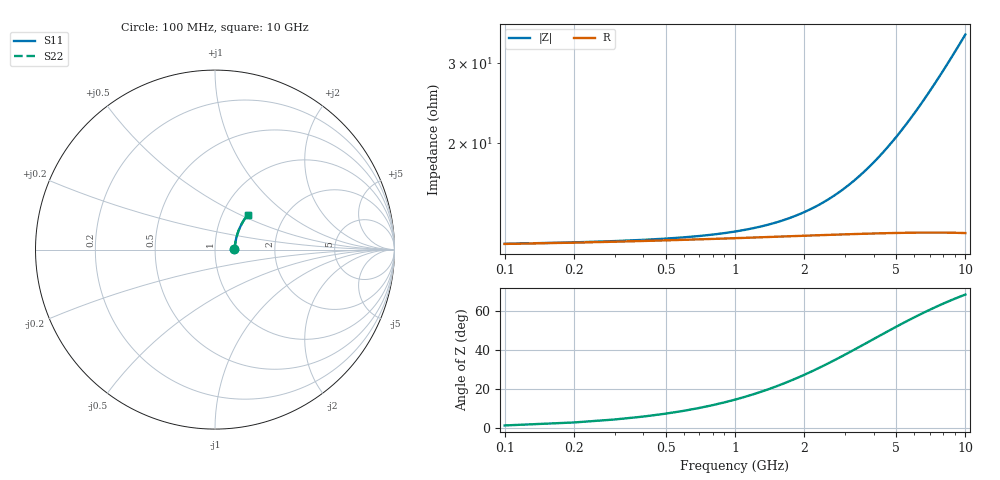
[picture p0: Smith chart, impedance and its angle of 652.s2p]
# Hz S RI R 50.00
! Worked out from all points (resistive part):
!   100 points, 100 MHz to 10 GHz, reference 50 ohm
!   read as one part in series: R = 12 ohm at 100 MHz
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1e8  0.1071 0.00216  0.8929 -0.00302  0.8929 -0.00302  0.1071 0.00216
2e8  0.1078 0.00431  0.8922 -0.00604  0.8922 -0.00604  0.1078 0.00431
8e8  0.1101 0.0172  0.8899 -0.0241  0.8899 -0.0241  0.1101 0.0172
1.1e9  0.111 0.0235  0.8889 -0.033  0.8889 -0.033  0.111 0.0235
1.4e9  0.112 0.0299  0.8879 -0.042  0.8879 -0.042  0.112 0.0299
1.6e9  0.1127 0.0341  0.8872 -0.0479  0.8872 -0.0479  0.1127 0.0341
1.8e9  0.1134 0.0383  0.8865 -0.0539  0.8865 -0.0539  0.1134 0.0383
2.1e9  0.1145 0.0446  0.8853 -0.0628  0.8853 -0.0628  0.1145 0.0446
2.5e9  0.1162 0.053  0.8835 -0.0746  0.8835 -0.0746  0.1162 0.053
2.9e9  0.1181 0.0613  0.8816 -0.0863  0.8816 -0.0863  0.1181 0.0613
3.4e9  0.1206 0.0716  0.8789 -0.101  0.8789 -0.101  0.1206 0.0716
4.2e9  0.1253 0.0878  0.8739 -0.1241  0.8739 -0.1241  0.1253 0.0878
5.1e9  0.1316 0.1057  0.8674 -0.1498  0.8674 -0.1498  0.1316 0.1057
5.9e9  0.138 0.1212  0.8606 -0.1721  0.8606 -0.1721  0.138 0.1212
6.7e9  0.1451 0.1362  0.8531 -0.1941  0.8531 -0.1941  0.1451 0.1362
7.1e9  0.1489 0.1435  0.8491 -0.2049  0.8491 -0.2049  0.1489 0.1435
7.5e9  0.1529 0.1507  0.8448 -0.2156  0.8448 -0.2156  0.1529 0.1507
7.9e9  0.1571 0.1578  0.8404 -0.2262  0.8404 -0.2262  0.1571 0.1578
8.4e9  0.1625 0.1665  0.8347 -0.2392  0.8347 -0.2392  0.1625 0.1665
8.8e9  0.167 0.1732  0.8298 -0.2494  0.8298 -0.2494  0.167 0.1732
9.2e9  0.1717 0.1799  0.8249 -0.2595  0.8249 -0.2595  0.1717 0.1799
1e10  0.1816 0.1926  0.8144 -0.2793  0.8144 -0.2793  0.1816 0.1926
